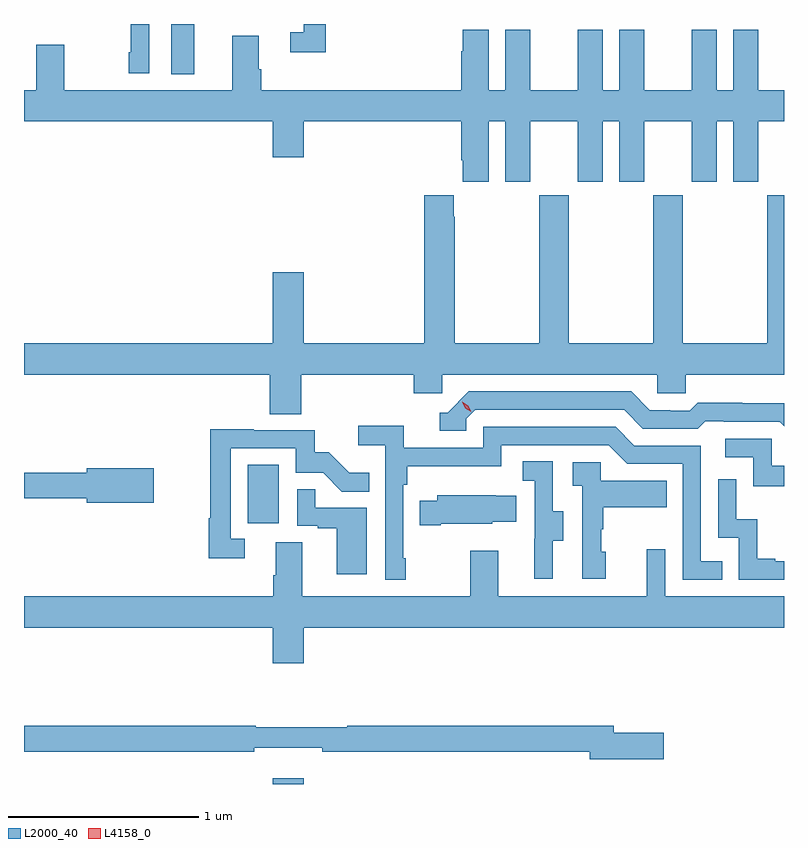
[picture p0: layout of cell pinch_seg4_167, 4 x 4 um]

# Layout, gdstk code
import gdstk
lib = gdstk.Library(unit=1e-6, precision=1e-09)
def R(c, l, rs):  # rectangles x0, y0, x1, y1
    for r in rs: c.add(gdstk.rectangle(r[:2], r[2:], *l))
def P(c, l, *ps):  # polygons
    for p in ps: c.add(gdstk.Polygon(p, *l))
L2000_40 = (2000, 40)
L4158_0 = (4158, 0)

pinch_seg4_167 = lib.new_cell('pinch_seg4_167')
R(pinch_seg4_167, L2000_40, [(1142.03,797.329,1142.194,797.359), (1141.898,798.702,1142.062,799.009), (1141.496,801.065,1141.618,801.329)])
P(pinch_seg4_167, L2000_40, [(1142.309,801.329),(1142.193,801.329),(1142.193,801.285),(1142.121,801.285),(1142.121,801.18),(1142.309,801.18)],
  [(1141.38,801.329),(1141.284,801.329),(1141.284,801.181),(1141.272,801.181),(1141.272,801.069),(1141.38,801.069)],
  [(1143.166,800.816),(1143.254,800.816),(1143.254,800.499),(1143.385,800.499),(1143.385,800.816),(1143.635,800.816),(1143.635,800.499),(1143.766,800.499),(1143.766,800.816),(1143.854,800.816),(1143.854,800.499),(1143.985,800.499),(1143.985,800.816),(1144.235,800.816),(1144.235,800.499),(1144.366,800.499),(1144.366,800.816),(1144.454,800.816),(1144.454,800.499),(1144.585,800.499),(1144.585,800.816),(1144.721,800.816),(1144.721,800.98),(1144.585,800.98),(1144.585,801.298),(1144.454,801.298),(1144.454,800.98),(1144.366,800.98),(1144.366,801.298),(1144.235,801.298),(1144.235,800.98),(1143.985,800.98),(1143.985,801.298),(1143.854,801.298),(1143.854,800.98),(1143.766,800.98),(1143.766,801.298),(1143.635,801.298),(1143.635,800.98),(1143.385,800.98),(1143.385,801.298),(1143.254,801.298),(1143.254,800.98),(1143.166,800.98),(1143.166,801.298),(1143.029,801.298),(1143.029,801.185),(1143.023,801.185),(1143.023,800.98),(1141.97,800.98),(1141.97,801.092),(1141.957,801.092),(1141.957,801.266),(1141.817,801.266),(1141.817,800.98),(1140.933,800.98),(1140.933,801.22),(1140.785,801.22),(1140.785,800.98),(1140.721,800.98),(1140.721,800.816),(1142.03,800.816),(1142.03,800.628),(1142.194,800.628),(1142.194,800.816),(1143.023,800.816),(1143.023,800.611),(1143.029,800.611),(1143.029,800.499),(1143.166,800.499)],
  [(1142.18,799.484),(1142.771,799.484),(1142.771,799.386),(1142.922,799.386),(1142.922,799.484),(1144.053,799.484),(1144.053,799.386),(1144.203,799.386),(1144.203,799.484),(1144.721,799.484),(1144.721,800.428),(1144.633,800.428),(1144.633,799.648),(1144.188,799.648),(1144.188,800.428),(1144.033,800.428),(1144.033,799.648),(1143.588,799.648),(1143.588,800.428),(1143.433,800.428),(1143.433,799.648),(1142.988,799.648),(1142.988,800.315),(1142.983,800.315),(1142.983,800.428),(1142.828,800.428),(1142.828,799.648),(1142.194,799.648),(1142.194,800.023),(1142.03,800.023),(1142.03,799.648),(1140.721,799.648),(1140.721,799.484),(1142.015,799.484),(1142.015,799.276),(1142.18,799.276)],
  [(1143.048,799.251),(1143.096,799.299),(1143.879,799.299),(1143.978,799.2),(1144.267,799.2),(1144.306,799.239),(1144.405,799.239),(1144.405,799.236),(1144.698,799.236),(1144.721,799.213),(1144.721,799.333),(1144.5,799.333),(1144.5,799.336),(1144.267,799.336),(1144.225,799.293),(1144.122,799.293),(1144.122,799.296),(1144.015,799.296),(1143.916,799.395),(1143.063,799.395),(1142.952,799.284),(1142.909,799.284),(1142.909,799.188),(1143.048,799.188)],
  [(1142.731,798.517),(1142.718,798.517),(1142.718,798.905),(1142.738,798.905),(1142.738,799.001),(1143.234,799.001),(1143.234,799.113),(1143.798,799.113),(1143.897,799.014),(1144.188,799.014),(1144.188,798.405),(1144.397,798.405),(1144.397,798.501),(1144.284,798.501),(1144.284,799.11),(1143.934,799.11),(1143.835,799.209),(1143.138,799.209),(1143.138,799.098),(1142.72,799.098),(1142.72,799.214),(1142.481,799.214),(1142.481,799.112),(1142.622,799.112),(1142.622,798.405),(1142.731,798.405)],
  [(1141.882,798.621),(1141.809,798.621),(1141.809,799.095),(1142.151,799.095),(1142.151,798.966),(1142.295,798.966),(1142.393,798.868),(1142.537,798.868),(1142.537,798.967),(1142.433,798.967),(1142.326,799.074),(1142.25,799.074),(1142.25,799.191),(1141.931,799.191),(1141.931,799.196),(1141.701,799.196),(1141.701,798.728),(1141.693,798.728),(1141.693,798.516),(1141.882,798.516)],
  [(1144.721,799.005),(1144.656,799.005),(1144.656,799.146),(1144.413,799.146),(1144.413,799.05),(1144.56,799.05),(1144.56,798.897),(1144.721,798.897)],
  [(1143.505,798.61),(1143.559,798.61),(1143.559,798.765),(1143.504,798.765),(1143.504,799.028),(1143.345,799.028),(1143.345,798.925),(1143.408,798.925),(1143.408,798.621),(1143.407,798.621),(1143.407,798.408),(1143.505,798.408)],
  [(1143.784,798.552),(1143.759,798.552),(1143.759,798.671),(1143.769,798.671),(1143.769,798.785),(1144.103,798.785),(1144.103,798.925),(1143.756,798.925),(1143.756,799.023),(1143.609,799.023),(1143.609,798.899),(1143.66,798.899),(1143.66,798.408),(1143.784,798.408)],
  [(1141.405,798.992),(1141.052,798.992),(1141.052,798.968),(1140.721,798.968),(1140.721,798.832),(1141.052,798.832),(1141.052,798.809),(1141.405,798.809)],
  [(1144.721,798.501),(1144.675,798.501),(1144.675,798.514),(1144.58,798.514),(1144.58,798.722),(1144.47,798.722),(1144.47,798.934),(1144.374,798.934),(1144.374,798.624),(1144.482,798.624),(1144.482,798.405),(1144.721,798.405)],
  [(1142.524,798.783),(1142.255,798.783),(1142.255,798.881),(1142.16,798.881),(1142.16,798.687),(1142.267,798.687),(1142.267,798.675),(1142.366,798.675),(1142.366,798.432),(1142.524,798.432)],
  [(1142.914,798.698),(1143.186,798.698),(1143.186,798.71),(1143.311,798.71),(1143.311,798.847),(1143.203,798.847),(1143.203,798.85),(1142.897,798.85),(1142.897,798.82),(1142.803,798.82),(1142.803,798.691),(1142.914,798.691)],
  [(1142.194,798.152),(1144.721,798.152),(1144.721,798.316),(1144.095,798.316),(1144.095,798.565),(1143.998,798.565),(1143.998,798.316),(1143.217,798.316),(1143.217,798.556),(1143.07,798.556),(1143.07,798.316),(1142.185,798.316),(1142.185,798.602),(1142.045,798.602),(1142.045,798.428),(1142.033,798.428),(1142.033,798.316),(1140.721,798.316),(1140.721,798.152),(1142.03,798.152),(1142.03,797.964),(1142.194,797.964)],
  [(1144.087,797.6),(1143.826,797.6),(1143.826,797.636),(1142.422,797.636),(1142.422,797.629),(1141.941,797.629),(1141.941,797.636),(1140.721,797.636),(1140.721,797.5),(1141.934,797.5),(1141.934,797.519),(1142.29,797.519),(1142.29,797.5),(1143.698,797.5),(1143.698,797.458),(1144.087,797.458)])
P(pinch_seg4_167, L4158_0, [(1143.074,799.287),(1143.043,799.307),(1143.028,799.339),(1143.028,799.34),(1143.028,799.34),(1143.058,799.32),(1143.074,799.287),(1143.074,799.287)])

lib.write_gds('pinch_seg4_167.gds')
